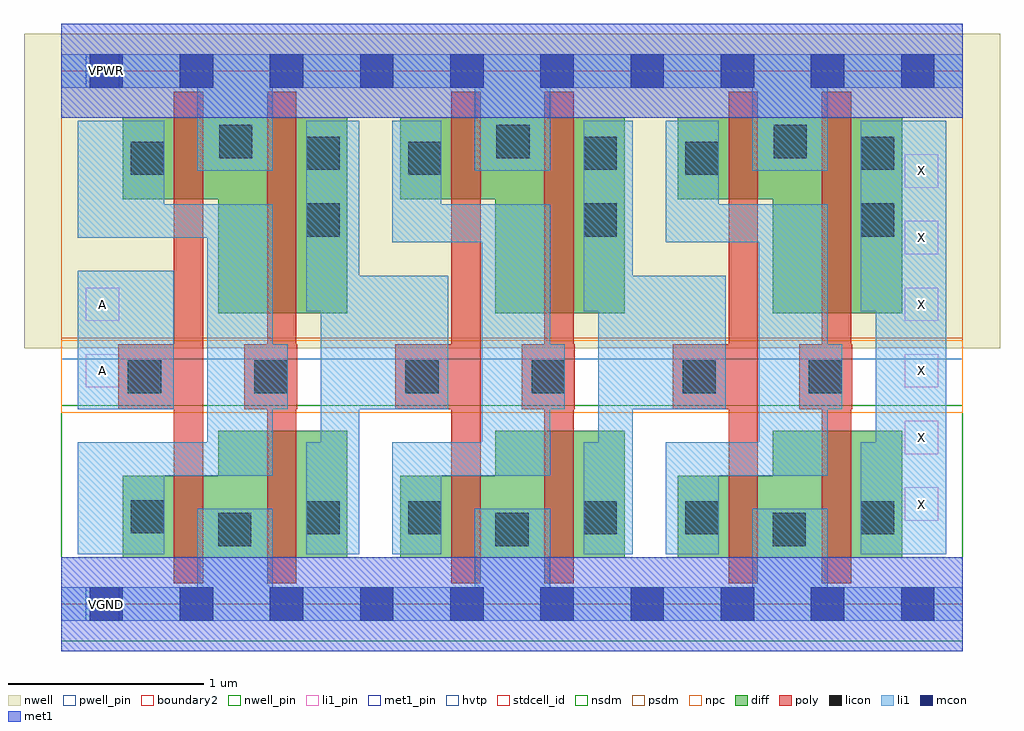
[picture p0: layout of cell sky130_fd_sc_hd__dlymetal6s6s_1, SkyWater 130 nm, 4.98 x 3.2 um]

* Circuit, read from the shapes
.subckt sky130_fd_sc_hd__dlymetal6s6s_1 A VGND VNB VPB VPWR X
XM1 VGND A n1 VNB sky130_fd_pr__nfet_01v8 w=0.42 l=0.15
XM2 n2 n1 VGND VNB sky130_fd_pr__nfet_01v8 w=0.65 l=0.15
XM3 VGND n2 n3 VNB sky130_fd_pr__nfet_01v8 w=0.42 l=0.15
XM4 n4 n3 VGND VNB sky130_fd_pr__nfet_01v8 w=0.65 l=0.15
XM5 VGND n4 n5 VNB sky130_fd_pr__nfet_01v8 w=0.42 l=0.15
XM6 X n5 VGND VNB sky130_fd_pr__nfet_01v8 w=0.65 l=0.15
XM7 VPWR A n1 VPB sky130_fd_pr__pfet_01v8_hvt w=0.42 l=0.15
XM8 n2 n1 VPWR VPB sky130_fd_pr__pfet_01v8_hvt w=1 l=0.15
XM9 VPWR n2 n3 VPB sky130_fd_pr__pfet_01v8_hvt w=0.42 l=0.15
XM10 n4 n3 VPWR VPB sky130_fd_pr__pfet_01v8_hvt w=1 l=0.15
XM11 VPWR n4 n5 VPB sky130_fd_pr__pfet_01v8_hvt w=0.42 l=0.15
XM12 X n5 VPWR VPB sky130_fd_pr__pfet_01v8_hvt w=1 l=0.15
.ends

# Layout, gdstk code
import gdstk
lib = gdstk.Library(unit=1e-6, precision=1e-09)
def R(c, l, rs):  # rectangles x0, y0, x1, y1
    for r in rs: c.add(gdstk.rectangle(r[:2], r[2:], *l))
def A(c, l, x, y, w, h, nx, ny, dx, dy):  # array of equal rectangles
    R(c, l, [(x+i*dx, y+j*dy, x+i*dx+w, y+j*dy+h) for i in range(nx) for j in range(ny)])
def P(c, l, *ps):  # polygons
    for p in ps: c.add(gdstk.Polygon(p, *l))
nwell_pin = (64, 16)
nwell = (64, 20)
diff = (65, 20)
poly = (66, 20)
licon = (66, 44)
li1_pin = (67, 16)
li1 = (67, 20)
mcon = (67, 44)
met1_pin = (68, 16)
met1 = (68, 20)
hvtp = (78, 44)
stdcell_id = (81, 4)
nsdm = (93, 44)
psdm = (94, 20)
npc = (95, 20)
pwell_pin = (122, 16)
boundary2 = (236, 0)

sky130_fd_sc_hd__dlymeta = lib.new_cell('sky130_fd_sc_hd__dlymetal6s6s_1')
R(sky130_fd_sc_hd__dlymeta, nwell_pin, [(0.125,2.635,0.295,2.805)])
R(sky130_fd_sc_hd__dlymeta, nwell, [(-0.19,1.305,4.79,2.91)])
P(sky130_fd_sc_hd__dlymeta, diff, [(4.29,0.885),(3.63,0.885),(3.63,0.655),(3.145,0.655),(3.145,0.235),(4.29,0.235)],
  [(4.29,2.485),(3.145,2.485),(3.145,2.065),(3.63,2.065),(3.63,1.485),(4.29,1.485)],
  [(2.875,0.885),(2.215,0.885),(2.215,0.655),(1.73,0.655),(1.73,0.235),(2.875,0.235)],
  [(2.875,2.485),(1.73,2.485),(1.73,2.065),(2.215,2.065),(2.215,1.485),(2.875,1.485)],
  [(1.46,0.885),(0.8,0.885),(0.8,0.655),(0.315,0.655),(0.315,0.235),(1.46,0.235)],
  [(1.46,2.485),(0.315,2.485),(0.315,2.065),(0.8,2.065),(0.8,1.485),(1.46,1.485)])
P(sky130_fd_sc_hd__dlymeta, poly, [(3.555,2.615),(3.405,2.615),(3.405,1.325),(3.12,1.325),(3.12,0.995),(3.405,0.995),(3.405,0.105),(3.555,0.105)],
  [(4.035,1.325),(4.03,1.325),(4.03,2.615),(3.88,2.615),(3.88,1.325),(3.765,1.325),(3.765,0.995),(3.88,0.995),(3.88,0.105),(4.03,0.105),(4.03,0.995),(4.035,0.995)],
  [(2.62,1.325),(2.615,1.325),(2.615,2.615),(2.465,2.615),(2.465,1.325),(2.35,1.325),(2.35,0.995),(2.465,0.995),(2.465,0.105),(2.615,0.105),(2.615,0.995),(2.62,0.995)],
  [(2.14,2.615),(1.99,2.615),(1.99,1.325),(1.705,1.325),(1.705,0.995),(1.99,0.995),(1.99,0.105),(2.14,0.105)],
  [(1.205,1.325),(1.2,1.325),(1.2,2.615),(1.05,2.615),(1.05,1.325),(0.935,1.325),(0.935,0.995),(1.05,0.995),(1.05,0.105),(1.2,0.105),(1.2,0.995),(1.205,0.995)],
  [(0.725,2.615),(0.575,2.615),(0.575,1.325),(0.29,1.325),(0.29,0.995),(0.575,0.995),(0.575,0.105),(0.725,0.105)])
A(sky130_fd_sc_hd__dlymeta, licon, 0.8, 0.295, 0.17, 0.17, 3, 1, 1.415, 0)
A(sky130_fd_sc_hd__dlymeta, licon, 1.25, 1.875, 0.17, 0.17, 3, 2, 1.415, 0.34)
A(sky130_fd_sc_hd__dlymeta, licon, 0.355, 2.19, 0.17, 0.17, 3, 1, 1.415, 0)
A(sky130_fd_sc_hd__dlymeta, licon, 0.805, 2.275, 0.17, 0.17, 3, 1, 1.415, 0)
R(sky130_fd_sc_hd__dlymeta, licon, [(1.25,0.355,1.42,0.525), (1.77,0.355,1.94,0.525), (2.665,0.355,2.835,0.525), (3.185,0.355,3.355,0.525), (4.08,0.355,4.25,0.525), (0.355,0.36,0.525,0.53), (0.34,1.075,0.51,1.245), (0.985,1.075,1.155,1.245), (1.755,1.075,1.925,1.245), (2.4,1.075,2.57,1.245), (3.17,1.075,3.34,1.245), (3.815,1.075,3.985,1.245)])
A(sky130_fd_sc_hd__dlymeta, li1_pin, 4.305, 0.425, 0.17, 0.17, 1, 6, 0, 0.34)
R(sky130_fd_sc_hd__dlymeta, li1_pin, [(0.125,1.105,0.295,1.275), (0.125,1.445,0.295,1.615)])
R(sky130_fd_sc_hd__dlymeta, li1, [(0.085,0.995,0.575,1.7)])
P(sky130_fd_sc_hd__dlymeta, li1, [(4.6,2.805),(0,2.805),(0,2.635),(0.695,2.635),(0.695,2.21),(1.08,2.21),(1.08,2.635),(2.11,2.635),(2.11,2.21),(2.495,2.21),(2.495,2.635),(3.525,2.635),(3.525,2.21),(3.91,2.21),(3.91,2.635),(4.6,2.635)],
  [(4.6,0.085),(3.91,0.085),(3.91,0.485),(3.525,0.485),(3.525,0.085),(2.495,0.085),(2.495,0.485),(2.11,0.485),(2.11,0.085),(1.08,0.085),(1.08,0.485),(0.695,0.485),(0.695,0.085),(0,0.085),(0,-0.085),(4.6,-0.085)],
  [(4.515,2.465),(4.08,2.465),(4.08,1.495),(4.155,1.495),(4.155,0.825),(4.08,0.825),(4.08,0.255),(4.515,0.255)],
  [(3.985,1.325),(3.91,1.325),(3.91,2.04),(3.355,2.04),(3.355,2.465),(3.085,2.465),(3.085,1.845),(3.56,1.845),(3.56,0.825),(3.085,0.825),(3.085,0.255),(3.355,0.255),(3.355,0.655),(3.91,0.655),(3.91,0.995),(3.985,0.995)],
  [(3.39,1.675),(2.915,1.675),(2.915,2.465),(2.665,2.465),(2.665,1.495),(2.74,1.495),(2.74,0.825),(2.665,0.825),(2.665,0.255),(2.915,0.255),(2.915,0.995),(3.39,0.995)],
  [(2.57,1.325),(2.495,1.325),(2.495,2.04),(1.94,2.04),(1.94,2.465),(1.69,2.465),(1.69,1.845),(2.145,1.845),(2.145,0.825),(1.69,0.825),(1.69,0.255),(1.94,0.255),(1.94,0.655),(2.495,0.655),(2.495,0.995),(2.57,0.995)],
  [(1.975,1.675),(1.52,1.675),(1.52,2.465),(1.25,2.465),(1.25,1.495),(1.325,1.495),(1.325,0.825),(1.25,0.825),(1.25,0.255),(1.52,0.255),(1.52,0.995),(1.975,0.995)],
  [(1.155,1.325),(1.08,1.325),(1.08,2.04),(0.525,2.04),(0.525,2.465),(0.085,2.465),(0.085,1.87),(0.745,1.87),(0.745,0.825),(0.085,0.825),(0.085,0.255),(0.525,0.255),(0.525,0.655),(1.08,0.655),(1.08,0.995),(1.155,0.995)])
A(sky130_fd_sc_hd__dlymeta, mcon, 0.145, -0.085, 0.17, 0.17, 10, 2, 0.46, 2.72)
R(sky130_fd_sc_hd__dlymeta, met1_pin, [(0.125,-0.085,0.295,0.085), (0.125,2.635,0.295,2.805)])
R(sky130_fd_sc_hd__dlymeta, hvtp, [(0,1.25,4.6,2.72)])
R(sky130_fd_sc_hd__dlymeta, stdcell_id, [(0,0,4.6,2.72)])
R(sky130_fd_sc_hd__dlymeta, nsdm, [(0,-0.19,4.6,1.015)])
R(sky130_fd_sc_hd__dlymeta, psdm, [(0,1.355,4.6,2.91)])
R(sky130_fd_sc_hd__dlymeta, npc, [(0,0.975,4.6,1.345)])
R(sky130_fd_sc_hd__dlymeta, pwell_pin, [(0.125,-0.085,0.295,0.085)])
R(sky130_fd_sc_hd__dlymeta, boundary2, [(0,0,4.6,2.72)])
sky130_fd_sc_hd__dlymeta.add(gdstk.FlexPath([(0,0),(4.6,0)], 0.48, ends="flush", simple_path=True, layer=68, datatype=20))  # met1
sky130_fd_sc_hd__dlymeta.add(gdstk.FlexPath([(0,2.72),(4.6,2.72)], 0.48, ends="flush", simple_path=True, layer=68, datatype=20))  # met1
sky130_fd_sc_hd__dlymeta.add(gdstk.Label('VPWR', (0.23,2.72), layer=68, texttype=5))
sky130_fd_sc_hd__dlymeta.add(gdstk.Label('VGND', (0.23,0), layer=68, texttype=5))
sky130_fd_sc_hd__dlymeta.add(gdstk.Label('VPB', (0.23,2.72), layer=64, texttype=5))
sky130_fd_sc_hd__dlymeta.add(gdstk.Label('VNB', (0.23,0), layer=64, texttype=59))
sky130_fd_sc_hd__dlymeta.add(gdstk.Label('A', (0.21,1.19), layer=67, texttype=5))
sky130_fd_sc_hd__dlymeta.add(gdstk.Label('X', (4.39,1.53), layer=67, texttype=5))
sky130_fd_sc_hd__dlymeta.add(gdstk.Label('A', (0.21,1.53), layer=67, texttype=5))
sky130_fd_sc_hd__dlymeta.add(gdstk.Label('X', (4.39,1.87), layer=67, texttype=5))
sky130_fd_sc_hd__dlymeta.add(gdstk.Label('X', (4.39,2.21), layer=67, texttype=5))
sky130_fd_sc_hd__dlymeta.add(gdstk.Label('X', (4.39,1.19), layer=67, texttype=5))
sky130_fd_sc_hd__dlymeta.add(gdstk.Label('X', (4.39,0.85), layer=67, texttype=5))
sky130_fd_sc_hd__dlymeta.add(gdstk.Label('X', (4.39,0.51), layer=67, texttype=5))
sky130_fd_sc_hd__dlymeta.add(gdstk.Label('dlymetal6s6s_1', (0,0), layer=83, texttype=44))

lib.write_gds('sky130_fd_sc_hd__dlymetal6s6s_1.gds')
